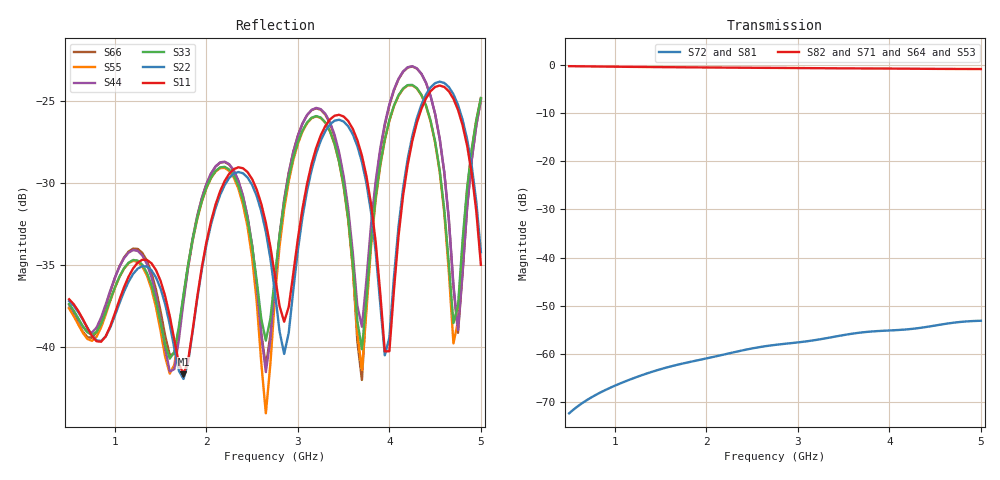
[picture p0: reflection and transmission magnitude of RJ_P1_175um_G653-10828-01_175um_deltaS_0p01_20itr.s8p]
! Touchstone file exported from HFSS 3D Layout Design 2023.2.0
!  File:  C:/Users/arajwardan/Documents/Ansoft/ASK5/RJ/RJ_P1_175um.aedt
!  Generated:  11:38:55 PM  May 19, 2026
!  Design:  G653-10828-01_175um
!  Project:  RJ_P1_175um
!  Setup:  Setup1
!  Solution:  Sweep1
# GHz S MA R 50.000000
! Terminal data exported
! Port[1] = J25094.1.ANT2_RF_Z50
! Port[2] = J25094.4.ANT7_RF_Z50_SLB
! Port[3] = J25094.5.ANT0_RF_Z50
! Port[4] = J25094.8.ANT6_RF_Z50_SLB
! Port[5] = J25095.1.ANT0_RF_Z50
! Port[6] = J25095.4.ANT6_RF_Z50_CLB
! Port[7] = J25095.5.ANT2_RF_Z50
! Port[8] = J25095.8.ANT7_RF_Z50_CLB
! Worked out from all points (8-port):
!   91 points, 500 MHz to 5 GHz, reference 50 ohm
!   strongest paths, dB at 500 MHz, 1.6 GHz, 2.75 GHz, 3.9 GHz, 5 GHz:
!     S82: -0.2, -0.4, -0.6, -0.7, -0.8
!     S71: -0.2, -0.4, -0.6, -0.7, -0.8
!     S64: -0.2, -0.4, -0.6, -0.7, -0.9
!     S53: -0.2, -0.4, -0.6, -0.7, -0.9
!     S72: -72.4, -62.7, -58.2, -55.3, -53.2
!     S81: -72.4, -62.7, -58.2, -55.3, -53.1
!   lowest |S11| = -41.7 dB at 1.75 GHz (marker M1), VSWR 1.02, Z = 49.8 - j0.807 ohm
!   |S11| at or under -10 dB: start of sweep to end of sweep
